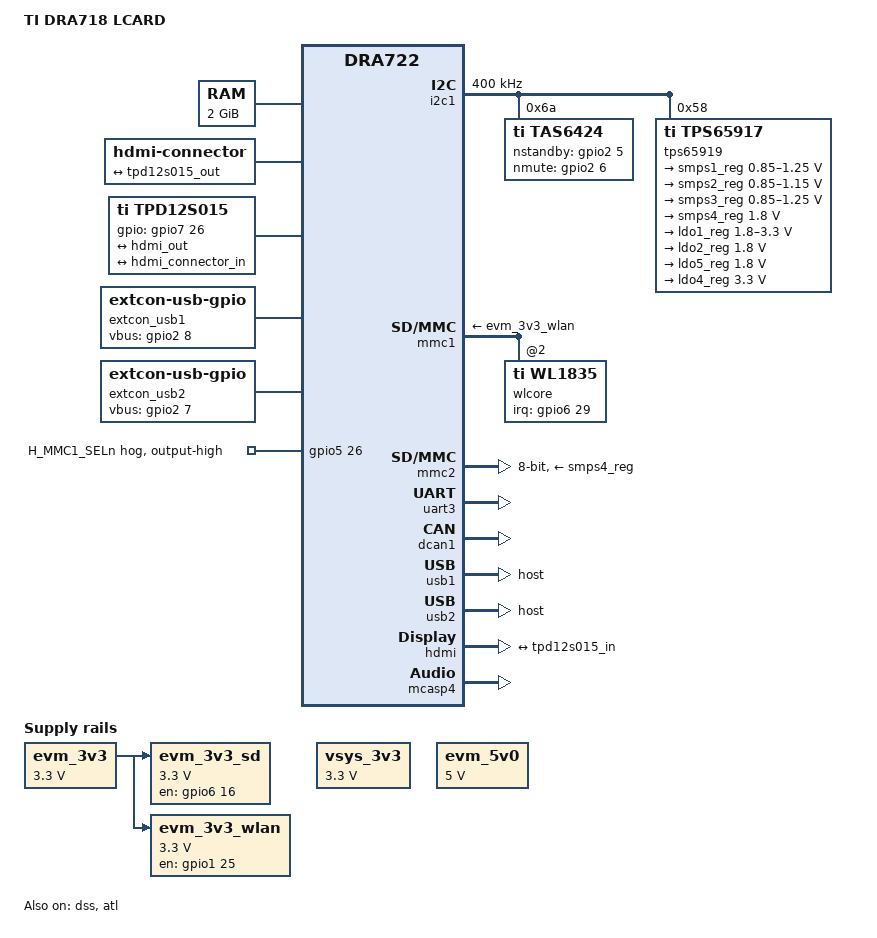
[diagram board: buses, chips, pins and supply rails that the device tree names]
/*
 * Copyright (C) 2017 Texas Instruments Incorporated - http://www.ti.com/
 *
 * This program is free software; you can redistribute it and/or modify
 * it under the terms of the GNU General Public License version 2 as
 * published by the Free Software Foundation.
 */
/dts-v1/;

#include "dra72x.dtsi"
#include "dra72x-mmc-iodelay.dtsi"
#include <dt-bindings/net/ti-dp83867.h>
#include <dt-bindings/gpio/gpio.h>
#include <dt-bindings/clk/ti-dra7-atl.h>

/ {
	compatible = "ti,dra718-lcard", "ti,dra718", "ti,dra722", "ti,dra72", "ti,dra7";
	model = "TI DRA718 LCARD";
	chosen {
		stdout-path = &uart3;
	};

	aliases {
		display0 = &hdmi0;
		sound0 = &snd0;
		sound1 = &hdmi;
	};

	memory {
		device_type = "memory";
		reg = <0x0 0x80000000 0x0 0x80000000>; /* 2GB */
	};

	evm_3v3: fixedregulator-evm_3v3 {
		compatible = "regulator-fixed";
		regulator-name = "vio_3v3";
		regulator-min-microvolt = <3300000>;
		regulator-max-microvolt = <3300000>;
		regulator-always-on;
		regulator-boot-on;
	};

	vsys_3v3: fixedregulator-vsys_3v3 {
		compatible = "regulator-fixed";
		regulator-name = "vsys_3v3";
		regulator-min-microvolt = <3300000>;
		regulator-max-microvolt = <3300000>;
		regulator-always-on;
		regulator-boot-on;
	};

	evm_5v0: fixedregulator-5v0 {
		compatible = "regulator-fixed";
		regulator-name = "evm_5v0";
		regulator-min-microvolt = <5000000>;
		regulator-max-microvolt = <5000000>;
		regulator-always-on;
		regulator-boot-on;
	};

	evm_3v3_sd: fixedregulator-sd {
		compatible = "regulator-fixed";
		regulator-name = "evm_3v3_sd";
		regulator-min-microvolt = <3300000>;
		regulator-max-microvolt = <3300000>;
		vin-supply = <&evm_3v3>;
		enable-active-high;
		gpio = <&gpio6 16 GPIO_ACTIVE_HIGH>;
	};

	evm_3v3_wlan: fixedregulator-wlan {
		compatible = "regulator-fixed";
		regulator-name = "evm_3v3_wlan";
		regulator-min-microvolt = <3300000>;
		regulator-max-microvolt = <3300000>;
		vin-supply = <&evm_3v3>;
		enable-active-high;
		regulator-always-on;
		gpio = <&gpio1 25 GPIO_ACTIVE_HIGH>;
	};

	hdmi0: connector {
		compatible = "hdmi-connector";
		label = "hdmi";

		type = "a";

		port {
			hdmi_connector_in: endpoint {
				remote-endpoint = <&tpd12s015_out>;
			};
		};
	};

	tpd12s015: encoder {
		compatible = "ti,tpd12s015";

		gpios = <0>, /* CT_CP_HPD is hardwired to high*/
			<0>, /* LS_OE  is hardwired to high*/
			<&gpio7 26 GPIO_ACTIVE_HIGH>;   /* HPD */

		ports {
			#address-cells = <1>;
			#size-cells = <0>;

			port@0 {
				reg = <0>;

				tpd12s015_in: endpoint {
					remote-endpoint = <&hdmi_out>;
				};
			};

			port@1 {
				reg = <1>;

				tpd12s015_out: endpoint {
					remote-endpoint = <&hdmi_connector_in>;
				};
			};
		};
	};

	extcon_usb1: extcon_usb1 {
		compatible = "linux,extcon-usb-gpio";
		vbus-gpio = <&gpio2 8 GPIO_ACTIVE_HIGH>;
	};

	extcon_usb2: extcon_usb2 {
		compatible = "linux,extcon-usb-gpio";
		vbus-gpio = <&gpio2 7 GPIO_ACTIVE_HIGH>;
	};

	snd0: sound@0 {
		compatible = "simple-audio-card";
		simple-audio-card,name = "DRA7xx-LCARD";
		simple-audio-card,format = "i2s";
		simple-audio-card,bitclock-master = <&sound0_master>;
		simple-audio-card,frame-master = <&sound0_master>;

		sound0_master: simple-audio-card,cpu {
			sound-dai = <&mcasp4>;
			system-clock-frequency = <12288000>;
		};

		simple-audio-card,codec {
			clocks = <&atl_clkin3_ck>;
			sound-dai = <&tas6424>;
		};
	};
};

&i2c1 {
	status = "okay";

	clock-frequency = <400000>;

	tas6424: tas6424@6a {
		#sound-dai-cells = <0>;
		status = "okay";
		compatible = "ti,tas6424";
		reg = <0x6a>;
		pinctrl-names = "default";
		pinctrl-0 = <&tas6424_pins>;
		nstandby-gpio = <&gpio2 5 GPIO_ACTIVE_HIGH>;
		nmute-gpio = <&gpio2 6 GPIO_ACTIVE_HIGH>;
		disable-auto-diagnostics;
	};

	tps65919: tps65919@58 {
		reg = <0x58>;
		compatible = "ti,tps65917";
		interrupt-controller;
		interrupt-cells = <2>;

		ti,system-power-controller;

		tps65919_pmic {
			compatible = "ti,tps65917-pmic";

			smps1-in-supply = <&vsys_3v3>;
			smps2-in-supply = <&vsys_3v3>;
			smps3-in-supply = <&vsys_3v3>;
			smps4-in-supply = <&vsys_3v3>;
			ldo1-in-supply = <&vsys_3v3>;
			ldo2-in-supply = <&vsys_3v3>;
			ldo4-in-supply = <&evm_5v0>;
			ldo5-in-supply = <&vsys_3v3>;

			tps65917_regulators: regulators {
				smps1_reg: smps1 {
					/* VDD_CORE */
					regulator-name = "smps1";
					regulator-min-microvolt = <850000>;
					regulator-max-microvolt = <1250000>;
					regulator-always-on;
					regulator-boot-on;
				};

				smps2_reg: smps2 {
					/* VDD_DDR */
					regulator-name = "smps2";
					regulator-min-microvolt = <850000>;
					regulator-max-microvolt = <1150000>;
					regulator-boot-on;
					regulator-always-on;
				};

				smps3_reg: smps3 {
					/* VDD_DSP */
					regulator-name = "smps3";
					regulator-min-microvolt = <850000>;
					regulator-max-microvolt = <1250000>;
					regulator-boot-on;
					regulator-always-on;
				};

				smps4_reg: smps4 {
					/* VDDS1V8 */
					regulator-name = "smps4";
					regulator-min-microvolt = <1800000>;
					regulator-max-microvolt = <1800000>;
					regulator-always-on;
					regulator-boot-on;
				};
				ldo1_reg: ldo1 {
					/* LDO1_OUT --> SDIO  */
					regulator-name = "ldo1";
					regulator-min-microvolt = <1800000>;
					regulator-max-microvolt = <3300000>;
					regulator-always-on;
					regulator-allow-bypass;

				};

				ldo2_reg: ldo2 {
					regulator-name = "ldo2";
					regulator-min-microvolt = <1800000>;
					regulator-max-microvolt = <1800000>;
					regulator-allow-bypass;
					regulator-always-on;
					regulator-boot-on;
				};

				ldo5_reg: ldo5 {
					/* VDDA_1V8_PLL */
					regulator-name = "ldo5";
					regulator-min-microvolt = <1800000>;
					regulator-max-microvolt = <1800000>;
					regulator-always-on;
					regulator-boot-on;
				};

				ldo4_reg: ldo4 {
					/* VDDA_3V_USB: VDDA_USBHS33 */
					regulator-name = "ldo4";
					regulator-min-microvolt = <3300000>;
					regulator-max-microvolt = <3300000>;
					regulator-always-on;
					regulator-boot-on;
				};
			};
		};
	};
};

&dra7_pmx_core {

	tas6424_pins: tas6424_pins {
		pinctrl-single,pins = <
			DRA7XX_CORE_IOPAD(0x36a0, PIN_OUTPUT_PULLUP | MUX_MODE5) /* xref_clk3.atl_clk3 */
			DRA7XX_CORE_IOPAD(0x347c, PIN_OUTPUT | MUX_MODE14) /* gpmc_a15.gpio2_5 */
			DRA7XX_CORE_IOPAD(0x3480, PIN_OUTPUT | MUX_MODE14) /* gpmc_a16.gpio2_6 */
		>;
	};

	dcan1_pins_default: dcan1_pins_default {
		pinctrl-single,pins = <
			DRA7XX_CORE_IOPAD(0x37d0, PIN_OUTPUT_PULLUP | MUX_MODE0) /* dcan1_tx */
			DRA7XX_CORE_IOPAD(0x37d4, PIN_INPUT | MUX_MODE0)  /* dcan1_rx */
		>;
	};
	dcan1_pins_sleep: dcan1_pins_sleep {
		pinctrl-single,pins = <
			DRA7XX_CORE_IOPAD(0x37d0, MUX_MODE15 | PULL_UP)	/* dcan1_tx.off */
			DRA7XX_CORE_IOPAD(0x37d4, MUX_MODE15 | PULL_UP)	/* dcan1_rx.off */
		>;
	};

};

&gpio5 {
	status = "okay";

	p26 {
		/* H_MMC1_SELn : select between MMC1 and Wireless
		 * Low : MMC1 is selected
		 * HIGH: Wireless is selected
		 */

		gpio-hog;
		gpios = <26 GPIO_ACTIVE_HIGH>;
		output-high;
		line-name = "H_MMC1_SELn";
	};
};

&mmc1 {
	vmmc-supply = <&evm_3v3_wlan>;
	vmmc_aux-supply = <&ldo1_reg>;
	status = "okay";
	pinctrl-names = "default", "hs";
	pinctrl-0 = <&mmc1_pins_default>;
	pinctrl-1 = <&mmc1_pins_hs>;
	cap-power-off-card;
	keep-power-in-suspend;
	ti,non-removable;

	/delete-property/ sd-uhs-sdr104;
	/delete-property/ sd-uhs-sdr50;
	/delete-property/ sd-uhs-ddr50;
	/delete-property/ sd-uhs-sdr25;
	/delete-property/ sd-uhs-sdr12;

	#address-cells = <1>;
	#size-cells = <0>;
	wlcore: wlcore2 {
		status = "okay";
		compatible = "ti,wl1835";
		reg = <2>;
		interrupt-parent = <&gpio6>;
		interrupts = <29 IRQ_TYPE_LEVEL_HIGH>;
	};
};

&mmc2 {
	vmmc-supply = <&smps4_reg>;
	status = "okay";
	pinctrl-names = "default", "hs", "ddr_1_8v", "hs200_1_8v";
	pinctrl-0 = <&mmc2_pins_default>;
	pinctrl-1 = <&mmc2_pins_hs>;
	pinctrl-2 = <&mmc2_pins_ddr_rev20 &mmc2_iodelay_ddr_conf>;
	pinctrl-3 = <&mmc2_pins_hs200 &mmc2_iodelay_hs200_rev20_conf>;
	ti,non-removable;
	bus-width = <8>;

	/delete-property/ sd-uhs-sdr25;
	/delete-property/ sd-uhs-sdr12;
};

&uart3 {
	status = "okay";
	interrupts-extended = <&crossbar_mpu GIC_SPI 69 IRQ_TYPE_LEVEL_HIGH>,
			      <&dra7_pmx_core 0x3f8>;
};

&rtc {
	status = "disabled";
};

&dcan1 {
	status = "okay";
	pinctrl-names = "default", "sleep";
	pinctrl-0 = <&dcan1_pins_default>;
	pinctrl-1 = <&dcan1_pins_sleep>;
};

&omap_dwc3_1 {
	extcon = <&extcon_usb1>;
};

&omap_dwc3_2 {
	extcon = <&extcon_usb2>;
};

&usb2_phy1 {
	phy-supply = <&ldo2_reg>;
};

&usb2_phy2 {
	phy-supply = <&ldo4_reg>;
};

&usb1 {
	extcon = <&extcon_usb1>;
	status= "okay";
	dr_mode = "host";
};

&usb2 {
	extcon = <&extcon_usb2>;
	status = "okay";
	dr_mode = "host";
};

&dss {
	status = "ok";
	vdda_video-supply = <&ldo5_reg>;
};

&hdmi {
	status = "ok";
	vdda_video-supply = <&ldo2_reg>;

	port {
		hdmi_out: endpoint {
			remote-endpoint = <&tpd12s015_in>;
		};
	};
};

&atl {
	assigned-clocks = <&abe_dpll_sys_clk_mux>,
			  <&atl_gfclk_mux>,
			  <&dpll_abe_ck>,
			  <&dpll_abe_m2x2_ck>,
			  <&atl_clkin1_ck>,
			  <&atl_clkin3_ck>;
	assigned-clock-parents = <&sys_clkin1>, <&dpll_abe_m2_ck>;
	assigned-clock-rates = <0>, <0>, <196608000>, <393216000>,
			       <12288000>, <12288000>;

	status = "okay";

	atl1 {
		bws = <DRA7_ATL_WS_MCASP2_FSX>;
		aws = <DRA7_ATL_WS_MCASP3_FSX>;
	};

	atl3 {
		bws = <DRA7_ATL_WS_MCASP4_FSX>;
		aws = <DRA7_ATL_WS_MCASP4_FSX>;
	};
};

&mcasp4	{
	assigned-clocks = <&mcasp4_ahclkx_mux>;
	assigned-clock-parents = <&atl_clkin3_ck>;

	status = "okay";

	#sound-dai-cells = <0>;

	op-mode = <0>;	   /* MCASP_IIS_MODE (also applies to DSP_A, etc.) */
	tdm-slots = <2>;
	serial-dir = <	   /* McASP has 4 serializers. 0: OFF, 1: TX, 2: RX */
		1 1 0 0	   /* Only use two pins (axr0 and axr1), and only TX */
	>;
	tx-num-evt = <32>; /* FIFO levels */
	rx-num-evt = <32>;
};
